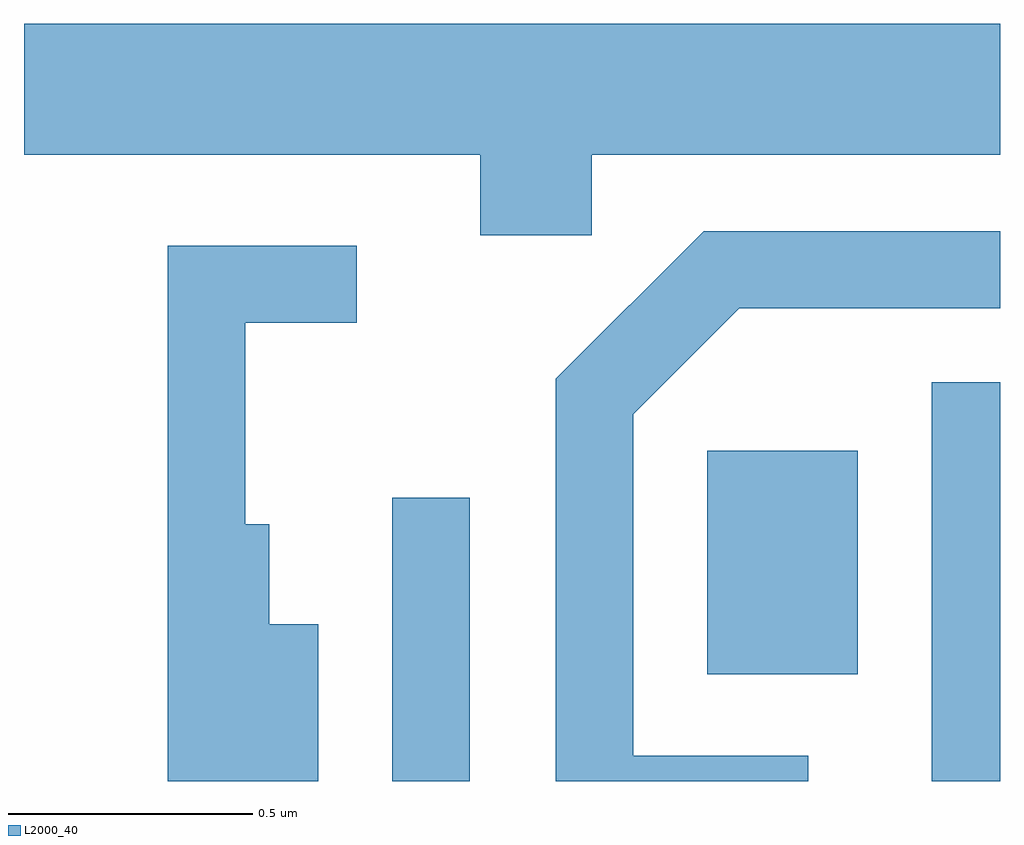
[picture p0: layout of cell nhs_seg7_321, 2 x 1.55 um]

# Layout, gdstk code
import gdstk
lib = gdstk.Library(unit=1e-6, precision=1e-09)
def R(c, l, rs):  # rectangles x0, y0, x1, y1
    for r in rs: c.add(gdstk.rectangle(r[:2], r[2:], *l))
def P(c, l, *ps):  # polygons
    for p in ps: c.add(gdstk.Polygon(p, *l))
L2000_40 = (2000, 40)

nhs_seg7_321 = lib.new_cell('nhs_seg7_321')
R(nhs_seg7_321, L2000_40, [(188.366,1715.252,188.524,1715.833), (189.471,1715.252,189.611,1716.069), (189.011,1715.471,189.319,1715.929)])
P(nhs_seg7_321, L2000_40, [(188.774,1716.536),(189.611,1716.536),(189.611,1716.804),(187.611,1716.804),(187.611,1716.536),(188.546,1716.536),(188.546,1716.371),(188.774,1716.371)],
  [(189.218,1715.304),(188.859,1715.304),(188.859,1716.004),(189.077,1716.221),(189.611,1716.221),(189.611,1716.379),(189.004,1716.379),(188.701,1716.077),(188.701,1715.252),(189.218,1715.252)],
  [(188.214,1715.574),(188.114,1715.574),(188.114,1715.779),(188.064,1715.779),(188.064,1716.191),(188.293,1716.191),(188.293,1716.349),(187.906,1716.349),(187.906,1715.252),(188.214,1715.252)])

lib.write_gds('nhs_seg7_321.gds')
